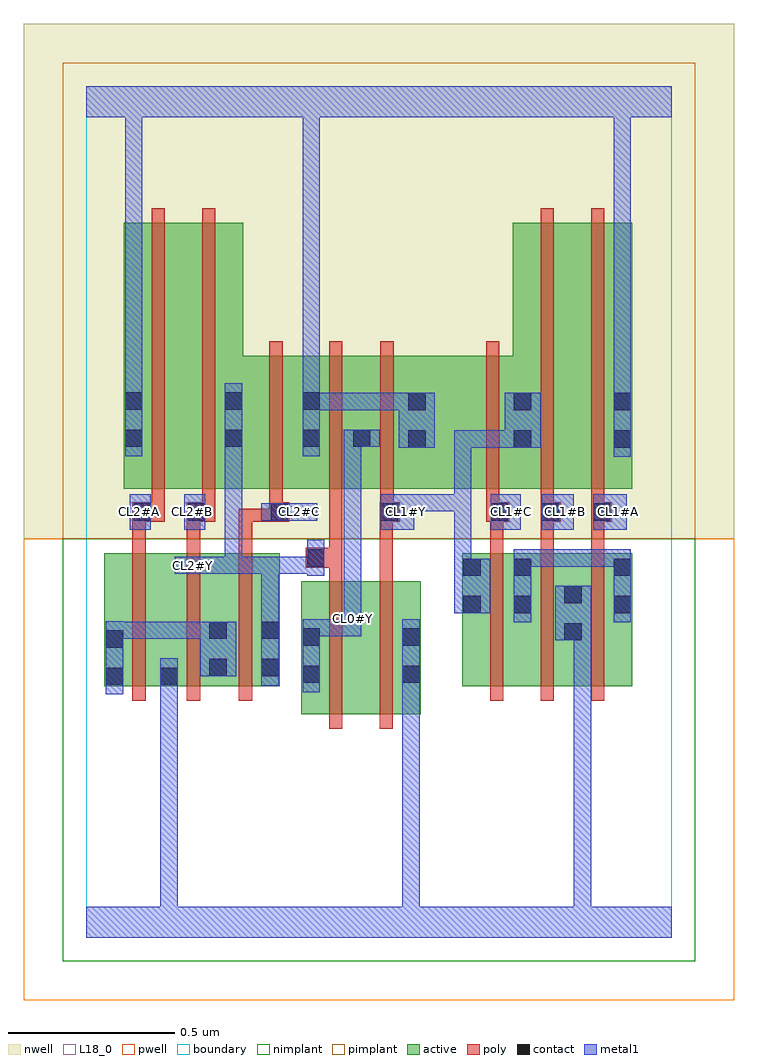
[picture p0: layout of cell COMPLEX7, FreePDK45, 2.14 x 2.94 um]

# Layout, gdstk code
import gdstk
lib = gdstk.Library(unit=1e-6, precision=1e-09)
def R(c, l, rs):  # rectangles x0, y0, x1, y1
    for r in rs: c.add(gdstk.rectangle(r[:2], r[2:], *l))
def A(c, l, x, y, w, h, nx, ny, dx, dy):  # array of equal rectangles
    R(c, l, [(x+i*dx, y+j*dy, x+i*dx+w, y+j*dy+h) for i in range(nx) for j in range(ny)])
active = (1, 0)
pwell = (2, 0)
nwell = (3, 0)
nimplant = (4, 0)
pimplant = (5, 0)
poly = (9, 0)
contact = (10, 0)
metal1 = (11, 0)
L18_0 = (18, 0)
boundary = (235, 0)

complex7 = lib.new_cell('COMPLEX7')
R(complex7, active, [(0.646,0.672,0.826,1.072), (0.826,0.672,1.006,1.072), (0.946,0.672,1.006,1.072), (0.054,0.756,0.114,1.156), (0.054,0.756,0.278,1.156), (0.218,0.756,0.426,1.156), (0.218,0.756,0.278,0.828), (0.366,0.756,0.426,1.156), (0.366,0.756,0.582,1.156), (0.522,0.756,0.582,1.156), (0.646,0.756,0.706,1.072), (1.13,0.756,1.19,1.156), (1.13,0.756,1.342,1.156), (1.282,0.756,1.342,1.156), (1.282,0.756,1.494,1.156), (1.434,0.756,1.642,1.156), (1.434,0.756,1.494,1.062), (1.582,0.756,1.642,1.156), (0.112,1.35,0.292,2.15), (0.112,1.35,0.172,2.15), (0.292,1.35,0.472,2.15), (0.412,1.35,0.706,1.75), (0.646,1.35,0.706,1.75), (0.646,1.35,0.858,1.75), (0.798,1.35,1.024,1.75), (0.964,1.35,1.342,1.75), (1.282,1.35,1.462,2.15), (1.462,1.35,1.642,2.15), (1.582,1.35,1.642,2.044), (0.964,1.47,1.024,1.644), (1.282,1.47,1.342,1.644), (0.412,1.472,0.472,1.644), (0.798,1.472,0.858,1.644)])
R(complex7, pwell, [(-0.188,-0.188,1.948,1.2)])
R(complex7, nwell, [(-0.188,1.2,1.948,2.748)])
R(complex7, nimplant, [(-0.072,-0.072,1.832,1.2)])
R(complex7, pimplant, [(-0.072,1.2,1.832,2.632)])
A(complex7, poly, 1.214, 0.712, 0.04, 0.488, 3, 1, 0.152, 0)
A(complex7, poly, 1.214, 1.16, 0.04, 0.13, 3, 1, 0.152, 0)
R(complex7, poly, [(0.73,0.628,0.77,1.116), (0.882,0.628,0.922,1.116), (0.138,0.712,0.178,1.2), (0.302,0.712,0.342,1.2), (0.458,0.712,0.498,1.2), (0.73,1.076,0.77,1.152), (0.882,1.076,0.922,1.29), (0.66,1.112,0.77,1.172), (0.73,1.132,0.77,1.172), (0.73,1.132,0.77,1.172), (0.73,1.132,0.77,1.346), (0.138,1.16,0.178,1.29), (0.302,1.16,0.342,1.29), (0.458,1.16,0.498,1.29), (0.138,1.25,0.178,1.29), (0.138,1.25,0.178,1.29), (0.138,1.25,0.236,1.31), (0.302,1.25,0.342,1.29), (0.302,1.25,0.342,1.29), (0.302,1.25,0.388,1.31), (0.458,1.25,0.59,1.29), (0.55,1.25,0.59,1.29), (0.55,1.25,0.61,1.31), (0.882,1.25,0.942,1.31), (1.202,1.25,1.272,1.31), (1.214,1.25,1.254,1.29), (1.214,1.25,1.254,1.29), (1.366,1.25,1.406,1.29), (1.366,1.25,1.406,1.29), (1.366,1.25,1.426,1.31), (1.518,1.25,1.558,1.29), (1.518,1.25,1.558,1.29), (1.518,1.25,1.58,1.31), (0.196,1.27,0.236,1.346), (0.348,1.27,0.388,1.346), (0.55,1.27,0.59,1.346), (0.884,1.27,0.924,1.346), (0.884,1.27,0.924,1.31), (0.884,1.27,0.924,1.31), (1.202,1.27,1.242,1.346), (1.366,1.27,1.406,1.346), (1.518,1.27,1.558,1.346), (0.196,1.306,0.236,2.194), (0.348,1.306,0.388,2.194), (0.55,1.306,0.59,1.794), (0.73,1.306,0.77,1.794), (0.884,1.306,0.924,1.794), (1.202,1.306,1.242,1.794), (1.366,1.306,1.406,2.194), (1.518,1.306,1.558,2.194)])
A(complex7, contact, 1.216, 1.254, 0.052, 0.052, 3, 1, 0.154, 0)
R(complex7, contact, [(0.058,0.76,0.11,0.812), (0.222,0.76,0.274,0.812), (0.65,0.766,0.702,0.818), (0.95,0.766,1.002,0.818), (0.37,0.786,0.422,0.838), (0.526,0.786,0.578,0.838), (0.058,0.872,0.11,0.924), (0.65,0.878,0.702,0.93), (0.95,0.878,1.002,0.93), (1.438,0.894,1.49,0.946), (0.37,0.898,0.422,0.95), (0.526,0.898,0.578,0.95), (1.134,0.976,1.186,1.028), (1.286,0.976,1.338,1.028), (1.586,0.976,1.638,1.028), (1.438,1.006,1.49,1.058), (1.134,1.088,1.186,1.14), (1.286,1.088,1.338,1.14), (1.586,1.088,1.638,1.14), (0.664,1.116,0.716,1.168), (0.142,1.254,0.194,1.306), (0.306,1.254,0.358,1.306), (0.554,1.254,0.606,1.306), (0.886,1.254,0.938,1.306), (0.968,1.474,1.02,1.526), (1.286,1.474,1.338,1.526), (1.586,1.474,1.638,1.526), (0.116,1.476,0.168,1.528), (0.416,1.476,0.468,1.528), (0.65,1.476,0.702,1.528), (0.802,1.476,0.854,1.528), (0.968,1.586,1.02,1.638), (1.286,1.586,1.338,1.638), (1.586,1.586,1.638,1.638), (0.116,1.588,0.168,1.64), (0.416,1.588,0.468,1.64), (0.65,1.588,0.702,1.64)])
R(complex7, metal1, [(0,0,1.76,0.092), (0.222,0.04,0.274,0.092), (0.222,0.04,0.274,0.092), (0.222,0.04,0.274,0.092), (0.222,0.04,0.274,0.092), (0.222,0.04,0.274,0.784), (0.95,0.04,1.002,0.092), (0.95,0.04,1.002,0.092), (0.95,0.04,1.002,0.092), (0.95,0.04,1.002,0.092), (0.95,0.04,1.002,0.092), (0.95,0.04,1.002,0.092), (0.95,0.04,1.002,0.79), (1.466,0.04,1.518,0.092), (1.466,0.04,1.518,0.092), (1.466,0.04,1.518,0.092), (1.466,0.04,1.518,0.092), (1.466,0.04,1.518,0.092), (1.466,0.04,1.518,0.092), (1.466,0.04,1.518,0.092), (1.466,0.04,1.518,0.092), (1.466,0.04,1.518,0.092), (1.466,0.04,1.518,0.092), (1.466,0.04,1.518,0.092), (1.466,0.04,1.518,0.092), (1.466,0.04,1.518,0.946), (0.058,0.732,0.11,0.952), (0.222,0.732,0.274,0.784), (0.222,0.732,0.274,0.784), (0.222,0.732,0.274,0.784), (0.222,0.732,0.274,0.784), (0.222,0.732,0.274,0.784), (0.222,0.732,0.274,0.784), (0.222,0.732,0.274,0.784), (0.222,0.732,0.274,0.784), (0.222,0.732,0.274,0.84), (0.65,0.738,0.702,0.958), (0.95,0.738,1.002,0.79), (0.95,0.738,1.002,0.79), (0.95,0.738,1.002,0.79), (0.95,0.738,1.002,0.79), (0.95,0.738,1.002,0.79), (0.95,0.738,1.002,0.79), (0.95,0.738,1.002,0.958), (0.526,0.758,0.578,0.978), (0.342,0.786,0.45,0.95), (1.41,0.894,1.518,1.058), (0.058,0.898,0.11,0.95), (0.058,0.898,0.11,0.95), (0.058,0.898,0.214,0.95), (0.162,0.898,0.214,0.95), (0.162,0.898,0.22,0.95), (0.168,0.898,0.22,0.95), (0.168,0.898,0.394,0.95), (0.65,0.906,0.826,0.958), (0.774,0.906,0.826,0.958), (0.774,0.906,0.826,0.958), (0.774,0.906,0.826,0.958), (0.774,0.906,0.826,0.958), (0.774,0.906,0.826,1.014), (0.526,0.926,0.578,1.146), (1.286,0.948,1.338,1.168), (1.586,0.948,1.638,1.168), (0.774,0.962,0.826,1.014), (0.774,0.962,0.826,1.014), (0.774,0.962,0.826,1.528), (1.106,0.976,1.214,1.14), (0.664,1.088,0.716,1.196), (1.106,1.088,1.158,1.334), (0.266,1.094,0.468,1.146), (0.416,1.094,0.578,1.146), (0.416,1.094,0.468,1.5), (0.526,1.094,0.578,1.146), (0.526,1.094,0.578,1.146), (0.526,1.094,0.578,1.146), (0.526,1.094,0.716,1.146), (0.664,1.094,0.716,1.146), (0.664,1.094,0.716,1.146), (1.286,1.116,1.448,1.168), (1.396,1.116,1.448,1.168), (1.396,1.116,1.448,1.168), (1.396,1.116,1.448,1.168), (1.396,1.116,1.638,1.168), (1.586,1.116,1.638,1.168), (1.586,1.116,1.638,1.168), (0.13,1.226,0.194,1.334), (0.294,1.226,0.358,1.334), (0.886,1.226,0.986,1.334), (1.216,1.226,1.306,1.334), (1.37,1.226,1.466,1.334), (1.524,1.226,1.626,1.334), (0.526,1.254,0.694,1.306), (0.934,1.282,1.158,1.334), (1.106,1.282,1.158,1.334), (1.106,1.282,1.158,1.334), (1.106,1.282,1.158,1.334), (1.106,1.282,1.158,1.334), (1.106,1.282,1.158,1.334), (1.106,1.282,1.158,1.526), (1.586,1.446,1.638,1.666), (0.116,1.448,0.168,1.668), (0.416,1.448,0.468,1.5), (0.416,1.448,0.468,1.5), (0.416,1.448,0.468,1.668), (0.65,1.448,0.702,1.668), (0.94,1.474,1.048,1.638), (1.106,1.474,1.158,1.526), (1.106,1.474,1.31,1.526), (1.258,1.474,1.31,1.526), (1.258,1.474,1.31,1.526), (1.258,1.474,1.366,1.638), (0.774,1.476,0.882,1.528), (0.65,1.586,0.826,1.638), (0.774,1.586,0.826,1.638), (0.774,1.586,0.826,1.638), (0.774,1.586,0.826,1.638), (0.774,1.586,0.992,1.638), (0.94,1.586,0.992,1.638), (0.94,1.586,0.992,1.638), (1.586,1.614,1.638,2.52), (0.116,1.616,0.168,1.668), (0.116,1.616,0.168,1.668), (0.116,1.616,0.168,2.52), (0.65,1.616,0.702,2.52), (0,2.468,1.76,2.56), (0.116,2.468,0.168,2.52), (0.116,2.468,0.168,2.52), (0.116,2.468,0.168,2.52), (0.116,2.468,0.168,2.52), (0.116,2.468,0.168,2.52), (0.116,2.468,0.168,2.52), (0.65,2.468,0.702,2.52), (0.65,2.468,0.702,2.52), (0.65,2.468,0.702,2.52), (0.65,2.468,0.702,2.52), (0.65,2.468,0.702,2.52), (0.65,2.468,0.702,2.52), (0.65,2.468,0.702,2.52), (0.65,2.468,0.702,2.52), (0.65,2.468,0.702,2.52), (0.65,2.468,0.702,2.52), (0.65,2.468,0.702,2.52), (0.65,2.468,0.702,2.52), (0.65,2.468,0.702,2.52), (0.65,2.468,0.702,2.52), (0.65,2.468,0.702,2.52), (0.65,2.468,0.702,2.52), (1.586,2.468,1.638,2.52), (1.586,2.468,1.638,2.52), (1.586,2.468,1.638,2.52), (1.586,2.468,1.638,2.52), (1.586,2.468,1.638,2.52), (1.586,2.468,1.638,2.52), (1.586,2.468,1.638,2.52), (1.586,2.468,1.638,2.52)])
A(complex7, L18_0, 0.774, 0.906, 0.052, 0.052, 1, 3, 0, 0.028)
A(complex7, L18_0, 0.294, 1.254, 0.052, 0.052, 4, 1, 0.32, 0)
R(complex7, L18_0, [(0,0,1.76,0.092), (0.222,0.04,0.274,0.092), (0.222,0.04,0.274,0.092), (0.222,0.04,0.274,0.092), (0.222,0.04,0.274,0.092), (0.222,0.04,0.274,0.784), (0.95,0.04,1.002,0.092), (0.95,0.04,1.002,0.092), (0.95,0.04,1.002,0.092), (0.95,0.04,1.002,0.092), (0.95,0.04,1.002,0.092), (0.95,0.04,1.002,0.092), (0.95,0.04,1.002,0.79), (1.466,0.04,1.518,0.092), (1.466,0.04,1.518,0.092), (1.466,0.04,1.518,0.092), (1.466,0.04,1.518,0.092), (1.466,0.04,1.518,0.092), (1.466,0.04,1.518,0.092), (1.466,0.04,1.518,0.092), (1.466,0.04,1.518,0.092), (1.466,0.04,1.518,0.092), (1.466,0.04,1.518,0.092), (1.466,0.04,1.518,0.092), (1.466,0.04,1.518,0.092), (1.466,0.04,1.518,0.946), (0.222,0.732,0.274,0.784), (0.222,0.732,0.274,0.784), (0.222,0.732,0.274,0.784), (0.222,0.732,0.274,0.784), (0.222,0.732,0.274,0.784), (0.222,0.732,0.274,0.784), (0.222,0.732,0.274,0.784), (0.222,0.732,0.274,0.784), (0.222,0.732,0.274,0.84), (0.65,0.738,0.702,0.958), (0.95,0.738,1.002,0.958), (0.95,0.738,1.002,0.79), (0.95,0.738,1.002,0.79), (0.95,0.738,1.002,0.79), (0.95,0.738,1.002,0.79), (0.95,0.738,1.002,0.79), (0.95,0.738,1.002,0.79), (0.526,0.758,0.578,0.978), (1.41,0.894,1.518,1.058), (0.65,0.906,0.826,0.958), (0.774,0.906,0.826,0.958), (0.774,0.906,0.826,0.958), (0.774,0.906,0.826,0.958), (0.774,0.906,0.826,1.014), (0.526,0.926,0.578,1.146), (0.774,0.962,0.826,1.014), (0.774,0.962,0.826,1.528), (1.106,0.976,1.214,1.14), (0.664,1.088,0.716,1.196), (1.106,1.088,1.158,1.334), (0.266,1.094,0.468,1.146), (0.294,1.094,0.346,1.146), (0.416,1.094,0.468,1.5), (0.416,1.094,0.578,1.146), (0.526,1.094,0.578,1.146), (0.526,1.094,0.578,1.146), (0.526,1.094,0.578,1.146), (0.526,1.094,0.716,1.146), (0.664,1.094,0.716,1.146), (0.664,1.094,0.716,1.146), (0.13,1.226,0.194,1.334), (0.294,1.226,0.358,1.334), (0.886,1.226,0.986,1.334), (1.216,1.226,1.306,1.334), (1.37,1.226,1.466,1.334), (1.524,1.226,1.626,1.334), (0.134,1.254,0.186,1.306), (0.526,1.254,0.694,1.306), (1.414,1.254,1.466,1.306), (1.574,1.254,1.626,1.306), (0.934,1.282,1.158,1.334), (1.106,1.282,1.158,1.334), (1.106,1.282,1.158,1.334), (1.106,1.282,1.158,1.334), (1.106,1.282,1.158,1.334), (1.106,1.282,1.158,1.334), (1.106,1.282,1.158,1.526), (1.586,1.446,1.638,1.666), (0.116,1.448,0.168,1.668), (0.416,1.448,0.468,1.668), (0.416,1.448,0.468,1.5), (0.416,1.448,0.468,1.5), (0.65,1.448,0.702,1.668), (0.94,1.474,1.048,1.638), (1.106,1.474,1.158,1.526), (1.106,1.474,1.31,1.526), (1.258,1.474,1.31,1.526), (1.258,1.474,1.31,1.526), (1.258,1.474,1.366,1.638), (0.774,1.476,0.882,1.528), (0.65,1.586,0.826,1.638), (0.774,1.586,0.826,1.638), (0.774,1.586,0.826,1.638), (0.774,1.586,0.826,1.638), (0.774,1.586,0.992,1.638), (0.94,1.586,0.992,1.638), (0.94,1.586,0.992,1.638), (1.586,1.614,1.638,2.52), (0.116,1.616,0.168,1.668), (0.116,1.616,0.168,1.668), (0.116,1.616,0.168,2.52), (0.65,1.616,0.702,2.52), (0,2.468,1.76,2.56), (0.116,2.468,0.168,2.52), (0.116,2.468,0.168,2.52), (0.116,2.468,0.168,2.52), (0.116,2.468,0.168,2.52), (0.116,2.468,0.168,2.52), (0.116,2.468,0.168,2.52), (0.65,2.468,0.702,2.52), (0.65,2.468,0.702,2.52), (0.65,2.468,0.702,2.52), (0.65,2.468,0.702,2.52), (0.65,2.468,0.702,2.52), (0.65,2.468,0.702,2.52), (0.65,2.468,0.702,2.52), (0.65,2.468,0.702,2.52), (0.65,2.468,0.702,2.52), (0.65,2.468,0.702,2.52), (0.65,2.468,0.702,2.52), (0.65,2.468,0.702,2.52), (0.65,2.468,0.702,2.52), (0.65,2.468,0.702,2.52), (0.65,2.468,0.702,2.52), (0.65,2.468,0.702,2.52), (1.586,2.468,1.638,2.52), (1.586,2.468,1.638,2.52), (1.586,2.468,1.638,2.52), (1.586,2.468,1.638,2.52), (1.586,2.468,1.638,2.52), (1.586,2.468,1.638,2.52), (1.586,2.468,1.638,2.52), (1.586,2.468,1.638,2.52)])
R(complex7, boundary, [(0,0,1.76,2.56)])
complex7.add(gdstk.Label('CL0#Y', (0.8,0.96), layer=11, texttype=0))
complex7.add(gdstk.Label('CL1#A', (1.6,1.28), layer=11, texttype=0))
complex7.add(gdstk.Label('CL1#B', (1.44,1.28), layer=11, texttype=0))
complex7.add(gdstk.Label('CL1#C', (1.28,1.28), layer=11, texttype=0))
complex7.add(gdstk.Label('CL1#Y', (0.96,1.28), layer=11, texttype=0))
complex7.add(gdstk.Label('CL2#A', (0.16,1.28), layer=11, texttype=0))
complex7.add(gdstk.Label('CL2#B', (0.32,1.28), layer=11, texttype=0))
complex7.add(gdstk.Label('CL2#C', (0.64,1.28), layer=11, texttype=0))
complex7.add(gdstk.Label('CL2#Y', (0.32,1.12), layer=11, texttype=0))

lib.write_gds('COMPLEX7.gds')
